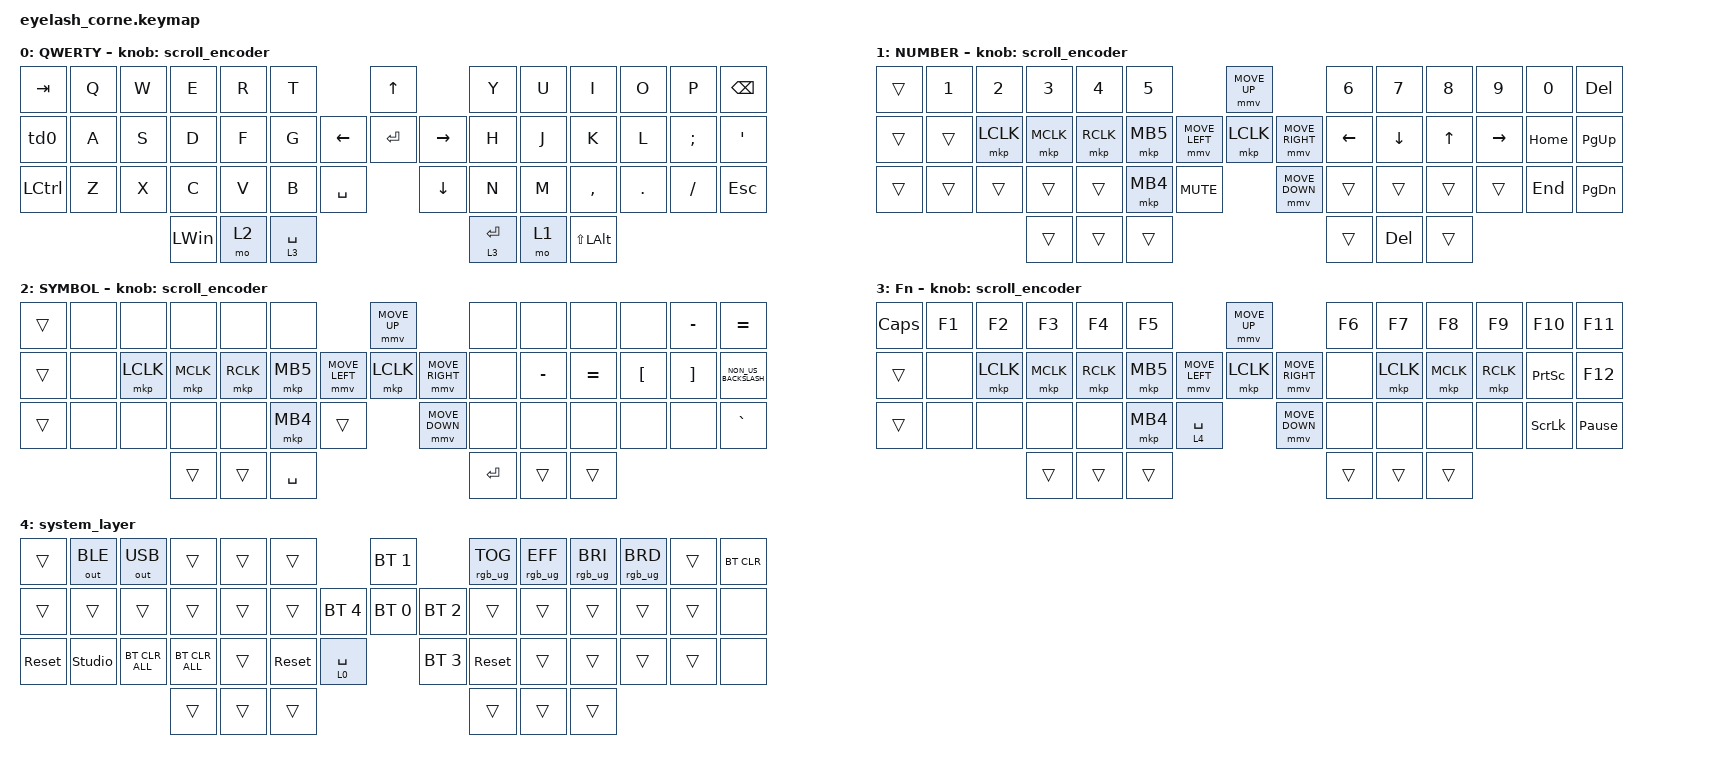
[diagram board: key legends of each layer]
#define ZMK_POINTING_DEFAULT_MOVE_VAL 1200  // 600
#define ZMK_POINTING_DEFAULT_SCRL_VAL 25   // 10

#include <input/processors.dtsi>
#include <zephyr/dt-bindings/input/input-event-codes.h>
#include <behaviors.dtsi>
#include <dt-bindings/zmk/bt.h>
#include <dt-bindings/zmk/keys.h>
#include <dt-bindings/zmk/outputs.h>
#include <dt-bindings/zmk/pointing.h>
#include <dt-bindings/zmk/rgb.h>

&mmv_input_listener { input-processors = <&zip_xy_scaler 2 1>; };

&msc_input_listener { input-processors = <&zip_scroll_scaler 2 1>; };

&msc {
    acceleration-exponent = <1>;      // 0
    time-to-max-speed-ms = <100>;       // 300
    delay-ms = <0>;                   // 0
};

&mmv {
    time-to-max-speed-ms = <500>;
    acceleration-exponent = <1>;
    trigger-period-ms = <16>;
};

/ {
    behaviors {
        td0: td0 {
            compatible = "zmk,behavior-tap-dance";
            display-name = "Shift/Caps Lock Tap Dance";
            #binding-cells = <0>;
            bindings = <&kp LEFT_SHIFT>, <&kp CAPS>;
        };
    };

    rgb_encoder: rgb_encoder {
        compatible = "zmk,behavior-sensor-rotate";
        #sensor-binding-cells = <0>;
        bindings = <&rgb_ug RGB_BRI>, <&rgb_ug RGB_BRD>;
    };

    scroll_encoder: scroll_encoder {
        compatible = "zmk,behavior-sensor-rotate";
        #sensor-binding-cells = <0>;
        bindings = <&msc SCRL_DOWN>, <&msc SCRL_UP>;

        tap-ms = <100>;
    };

    keymap {
        compatible = "zmk,keymap";

        default_layer {
            display-name = "QWERTY";
            bindings = <
&kp TAB    &kp Q  &kp W  &kp E         &kp R  &kp T                               &kp UP                &kp Y        &kp U  &kp I             &kp O    &kp P     &kp BSPC
&td0       &kp A  &kp S  &kp D         &kp F  &kp G                     &kp LEFT  &kp ENTER  &kp RIGHT  &kp H        &kp J  &kp K             &kp L    &kp SEMI  &kp SQT
&kp LCTRL  &kp Z  &kp X  &kp C         &kp V  &kp B        &kp SPACE              &kp DOWN              &kp N        &kp M  &kp COMMA         &kp DOT  &kp FSLH  &kp ESC
                         &kp LEFT_WIN  &mo 2  &lt 3 SPACE                                               &lt 3 ENTER  &mo 1  &kp LS(LEFT_ALT)
            >;

            sensor-bindings = <&scroll_encoder>;
        };

        lower_layer {
            display-name = "NUMBER";
            bindings = <
&trans  &kp N1  &kp N2     &kp N3     &kp N4     &kp N5                                  &mmv MOVE_UP                     &kp N6    &kp N7    &kp N8  &kp N9     &kp N0    &kp DELETE
&trans  &trans  &mkp LCLK  &mkp MCLK  &mkp RCLK  &mkp MB5                &mmv MOVE_LEFT  &mkp LCLK       &mmv MOVE_RIGHT  &kp LEFT  &kp DOWN  &kp UP  &kp RIGHT  &kp HOME  &kp PG_UP
&trans  &trans  &trans     &trans     &trans     &mkp MB4  &kp C_MUTE                    &mmv MOVE_DOWN                   &trans    &trans    &trans  &trans     &kp END   &kp PG_DN
                           &trans     &trans     &trans                                                                   &trans    &kp DEL   &trans
            >;

            sensor-bindings = <&scroll_encoder>;
        };

        raise_layer {
            display-name = "SYMBOL";
            bindings = <
&trans  &none  &none      &none      &none      &none                                &mmv MOVE_UP                     &none    &none      &none      &none             &kp MINUS          &kp EQUAL
&trans  &none  &mkp LCLK  &mkp MCLK  &mkp RCLK  &mkp MB5             &mmv MOVE_LEFT  &mkp LCLK       &mmv MOVE_RIGHT  &none    &kp MINUS  &kp EQUAL  &kp LEFT_BRACKET  &kp RIGHT_BRACKET  &kp NON_US_BACKSLASH
&trans  &none  &none      &none      &none      &mkp MB4   &trans                    &mmv MOVE_DOWN                   &none    &none      &none      &none             &none              &kp GRAVE
                          &trans     &trans     &kp SPACE                                                             &kp RET  &trans     &trans
            >;

            sensor-bindings = <&scroll_encoder>;
        };

        layer_3 {
            display-name = "Fn";
            bindings = <
&kp CAPSLOCK  &kp F1  &kp F2     &kp F3     &kp F4     &kp F5                                   &mmv MOVE_UP                     &kp F6  &kp F7     &kp F8     &kp F9     &kp F10          &kp F11
&trans        &none   &mkp LCLK  &mkp MCLK  &mkp RCLK  &mkp MB5                 &mmv MOVE_LEFT  &mkp LCLK       &mmv MOVE_RIGHT  &none   &mkp LCLK  &mkp MCLK  &mkp RCLK  &kp PRINTSCREEN  &kp F12
&trans        &none   &none      &none      &none      &mkp MB4  &lt 4 SPACE                    &mmv MOVE_DOWN                   &none   &none      &none      &none      &kp SCROLLLOCK   &kp PAUSE_BREAK
                                 &trans     &trans     &trans                                                                    &trans  &trans     &trans
            >;

            sensor-bindings = <&scroll_encoder>;
        };

        system_layer {
            bindings = <
&trans      &out OUT_BLE    &out OUT_USB    &trans          &trans  &trans                                   &bt BT_SEL 1                &rgb_ug RGB_TOG  &rgb_ug RGB_EFF  &rgb_ug RGB_BRI  &rgb_ug RGB_BRD  &trans  &bt BT_CLR
&trans      &trans          &trans          &trans          &trans  &trans                     &bt BT_SEL 4  &bt BT_SEL 0  &bt BT_SEL 2  &trans           &trans           &trans           &trans           &trans  &none
&sys_reset  &studio_unlock  &bt BT_CLR_ALL  &bt BT_CLR_ALL  &trans  &sys_reset  &lt 0 SPACE                  &bt BT_SEL 3                &sys_reset       &trans           &trans           &trans           &trans  &none
                                            &trans          &trans  &trans                                                               &trans           &trans           &trans
            >;
        };
    };
};
